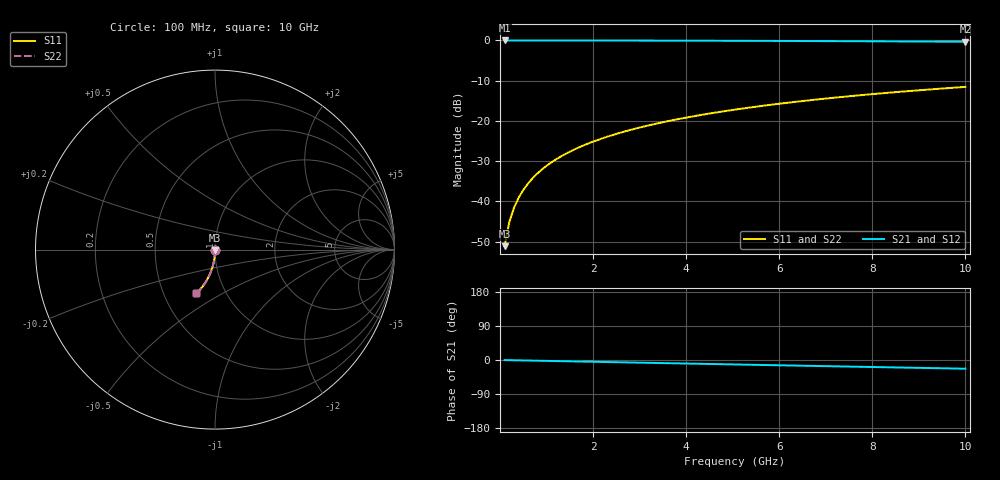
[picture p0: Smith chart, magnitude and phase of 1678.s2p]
# Hz S RI R 50.00
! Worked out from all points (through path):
!   100 points, 100 MHz to 10 GHz, reference 50 ohm
!   highest |S21| = 0.00 dB at 100 MHz (marker M1); lowest = -0.3 dB at 10 GHz (marker M2)
!   group delay of S21, straight-line fit = 6.39 ps
!   lowest |S11| = -51.1 dB at 100 MHz (marker M3), VSWR 1.01, Z = 50 - j0.277 ohm
!   |S11| at or under -10 dB: start of sweep to end of sweep
!   |S22| runs from -51.1 to -11.5 dB; largest |S21 - S12| = 0
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1e8  0.000267 -0.00277  0.9997 -0.00407  0.9997 -0.00407  0.000267 -0.00277
2e8  0.000232 -0.00553  0.9997 -0.00815  0.9997 -0.00815  0.000232 -0.00553
3e8  0.000174 -0.0083  0.9996 -0.0122  0.9996 -0.0122  0.000174 -0.0083
4e8  9.27e-05 -0.0111  0.9995 -0.0163  0.9995 -0.0163  9.27e-05 -0.0111
5e8  -1.1e-05 -0.0138  0.9994 -0.0204  0.9994 -0.0204  -1.1e-05 -0.0138
6e8  -0.000137 -0.0166  0.9993 -0.0244  0.9993 -0.0244  -0.000137 -0.0166
7e8  -0.000286 -0.0194  0.9991 -0.0285  0.9991 -0.0285  -0.000286 -0.0194
8e8  -0.000458 -0.0221  0.9989 -0.0326  0.9989 -0.0326  -0.000458 -0.0221
9e8  -0.000652 -0.0249  0.9987 -0.0367  0.9987 -0.0367  -0.000652 -0.0249
1.1e9  -0.00111 -0.0304  0.9982 -0.0448  0.9982 -0.0448  -0.00111 -0.0304
1.4e9  -0.00196 -0.0386  0.9973 -0.057  0.9973 -0.057  -0.00196 -0.0386
1.8e9  -0.00341 -0.0496  0.9957 -0.0732  0.9957 -0.0732  -0.00341 -0.0496
2.1e9  -0.00473 -0.0578  0.9943 -0.0853  0.9943 -0.0853  -0.00473 -0.0578
2.5e9  -0.0068 -0.0686  0.9921 -0.1014  0.9921 -0.1014  -0.0068 -0.0686
2.9e9  -0.00922 -0.0794  0.9895 -0.1174  0.9895 -0.1174  -0.00922 -0.0794
3.4e9  -0.0127 -0.0927  0.9857 -0.1373  0.9857 -0.1373  -0.0127 -0.0927
4.2e9  -0.0194 -0.1137  0.9784 -0.1688  0.9784 -0.1688  -0.0194 -0.1137
5.1e9  -0.0286 -0.1366  0.9686 -0.2035  0.9686 -0.2035  -0.0286 -0.1366
5.9e9  -0.038 -0.1563  0.9584 -0.2338  0.9584 -0.2338  -0.038 -0.1563
6.7e9  -0.0486 -0.1752  0.9469 -0.2633  0.9469 -0.2633  -0.0486 -0.1752
8.4e9  -0.0747 -0.2126  0.9184 -0.3233  0.9184 -0.3233  -0.0747 -0.2126
1e10  -0.1032 -0.2437  0.8873 -0.3759  0.8873 -0.3759  -0.1032 -0.2437
